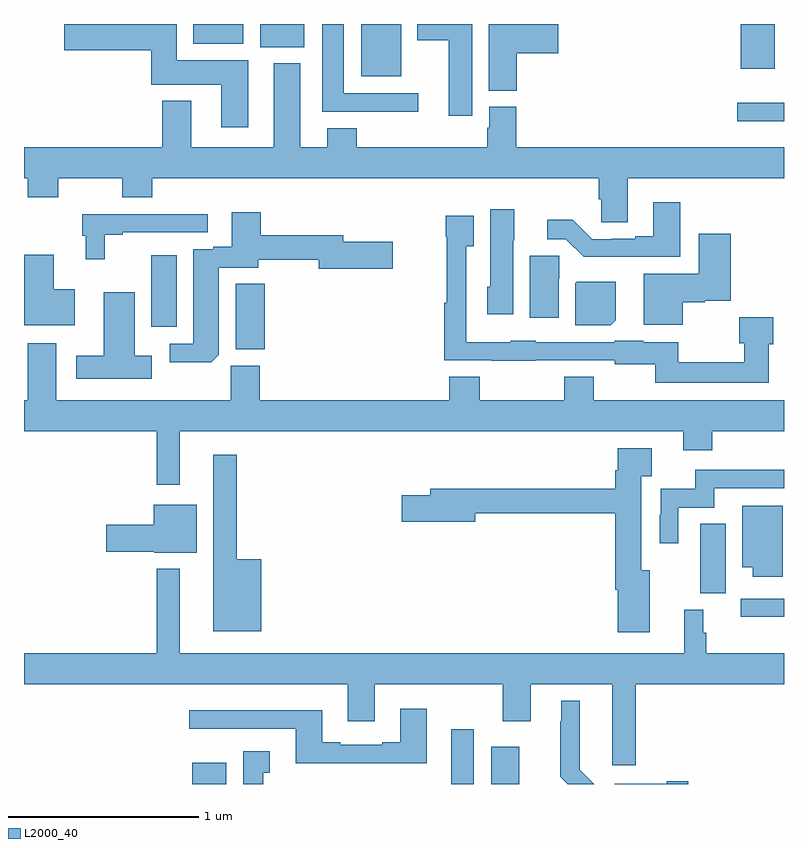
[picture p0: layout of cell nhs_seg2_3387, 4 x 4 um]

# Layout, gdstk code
import gdstk
lib = gdstk.Library(unit=1e-6, precision=1e-09)
def R(c, l, rs):  # rectangles x0, y0, x1, y1
    for r in rs: c.add(gdstk.rectangle(r[:2], r[2:], *l))
def P(c, l, *ps):  # polygons
    for p in ps: c.add(gdstk.Polygon(p, *l))
L2000_40 = (2000, 40)

nhs_seg2_3387 = lib.new_cell('nhs_seg2_3387')
R(nhs_seg2_3387, L2000_40, [(289.886,625.8,290.065,625.912), (291.248,625.8,291.367,626.089), (291.458,625.8,291.607,625.996), (292.773,626.679,293,626.775), (292.559,626.803,292.693,627.169), (290.114,628.087,290.267,628.433), (289.67,628.206,289.804,628.582), (292.755,629.288,293,629.385), (290.774,629.525,290.986,629.8), (292.772,629.564,292.951,629.8), (290.243,629.678,290.476,629.8), (289.892,629.696,290.155,629.8)])
P(nhs_seg2_3387, L2000_40, [(291.076,629.436),(290.683,629.436),(290.683,629.8),(290.57,629.8),(290.57,629.339),(291.076,629.339)],
  [(291.358,629.8),(291.071,629.8),(291.071,629.714),(291.236,629.714),(291.236,629.316),(291.358,629.316)],
  [(291.593,629.645),(291.811,629.645),(291.811,629.8),(291.446,629.8),(291.446,629.449),(291.593,629.449)],
  [(290.179,629.608),(289.804,629.608),(289.804,629.8),(289.212,629.8),(289.212,629.663),(289.67,629.663),(289.67,629.48),(290.039,629.48),(290.039,629.256),(290.179,629.256)],
  [(292.177,628.988),(293,628.988),(293,629.152),(291.59,629.152),(291.59,629.364),(291.449,629.364),(291.449,629.253),(291.437,629.253),(291.437,629.152),(290.75,629.152),(290.75,629.251),(290.597,629.251),(290.597,629.152),(290.455,629.152),(290.455,629.593),(290.315,629.593),(290.315,629.152),(289.879,629.152),(289.879,629.395),(289.727,629.395),(289.727,629.152),(289,629.152),(289,628.988),(289.019,628.988),(289.019,628.889),(289.179,628.889),(289.179,628.988),(289.516,628.988),(289.516,628.889),(289.676,628.889),(289.676,628.988),(292.025,628.988),(292.025,628.878),(292.038,628.878),(292.038,628.756),(292.177,628.756)],
  [(292.453,628.861),(292.313,628.861),(292.313,628.684),(292.217,628.684),(292.217,628.671),(292.09,628.671),(292.09,628.668),(291.99,628.668),(291.888,628.771),(291.753,628.771),(291.753,628.668),(291.852,628.668),(291.947,628.574),(292.453,628.574)],
  [(291.574,628.662),(291.58,628.662),(291.58,628.825),(291.455,628.825),(291.455,628.416),(291.437,628.416),(291.437,628.272),(291.574,628.272)],
  [(290.026,628.06),(290.026,628.518),(290.233,628.518),(290.233,628.558),(290.552,628.558),(290.552,628.511),(290.941,628.511),(290.941,628.653),(290.68,628.653),(290.68,628.687),(290.246,628.687),(290.246,628.81),(290.093,628.81),(290.093,628.627),(289.997,628.627),(289.997,628.614),(289.892,628.614),(289.892,628.116),(289.767,628.116),(289.767,628.019),(289.985,628.019)],
  [(289.425,628.692),(289.519,628.692),(289.519,628.704),(289.966,628.704),(289.966,628.8),(289.306,628.8),(289.306,628.686),(289.325,628.686),(289.325,628.563),(289.425,628.563)],
  [(292.919,628.114),(292.943,628.114),(292.943,628.256),(292.765,628.256),(292.765,628.121),(292.791,628.121),(292.791,628.021),(292.444,628.021),(292.444,628.126),(292.26,628.126),(292.26,628.132),(292.11,628.132),(292.11,628.125),(291.693,628.125),(291.693,628.132),(291.561,628.132),(291.561,628.126),(291.327,628.126),(291.327,628.631),(291.367,628.631),(291.367,628.792),(291.219,628.792),(291.219,628.679),(291.226,628.679),(291.226,628.332),(291.211,628.332),(291.211,628.029),(291.461,628.029),(291.461,628.028),(291.693,628.028),(291.693,628.029),(292.11,628.029),(292.11,628.01),(292.323,628.01),(292.323,627.912),(292.919,627.912)],
  [(292.468,628.336),(292.584,628.336),(292.584,628.343),(292.721,628.343),(292.721,628.696),(292.55,628.696),(292.55,628.486),(292.262,628.486),(292.262,628.217),(292.468,628.217)],
  [(289.267,628.405),(289.156,628.405),(289.156,628.585),(289,628.585),(289,628.214),(289.267,628.214)],
  [(291.814,628.458),(291.818,628.458),(291.818,628.581),(291.662,628.581),(291.662,628.254),(291.814,628.254)],
  [(292.114,628.24),(292.114,628.444),(291.91,628.444),(291.902,628.436),(291.902,628.214),(292.088,628.214)],
  [(289.672,628.054),(289.582,628.054),(289.582,628.387),(289.421,628.387),(289.421,628.054),(289.275,628.054),(289.275,627.932),(289.672,627.932)],
  [(289.819,627.656),(292.469,627.656),(292.469,627.557),(292.622,627.557),(292.622,627.656),(293,627.656),(293,627.82),(291.999,627.82),(291.999,627.944),(291.844,627.944),(291.844,627.82),(291.399,627.82),(291.399,627.944),(291.239,627.944),(291.239,627.82),(290.24,627.82),(290.24,628.002),(290.089,628.002),(290.089,627.82),(289.171,627.82),(289.171,628.12),(289.019,628.12),(289.019,627.82),(289,627.82),(289,627.656),(289.698,627.656),(289.698,627.375),(289.819,627.375)],
  [(292.294,626.926),(292.249,626.926),(292.249,627.42),(292.303,627.42),(292.303,627.568),(292.124,627.568),(292.124,627.452),(292.112,627.452),(292.112,627.355),(291.137,627.355),(291.137,627.321),(290.988,627.321),(290.988,627.179),(291.376,627.179),(291.376,627.226),(292.112,627.226),(292.112,626.822),(292.124,626.822),(292.124,626.6),(292.294,626.6)],
  [(290.248,626.983),(290.119,626.983),(290.119,627.532),(289.997,627.532),(289.997,626.603),(290.248,626.603)],
  [(292.443,627.254),(292.633,627.254),(292.633,627.357),(293,627.357),(293,627.455),(292.534,627.455),(292.534,627.354),(292.35,627.354),(292.35,627.216),(292.347,627.216),(292.347,627.066),(292.443,627.066)],
  [(289.909,627.271),(289.682,627.271),(289.682,627.165),(289.434,627.165),(289.434,627.023),(289.686,627.023),(289.686,627.017),(289.909,627.017)],
  [(292.993,627.265),(292.781,627.265),(292.781,626.942),(292.835,626.942),(292.835,626.892),(292.993,626.892)],
  [(292.22,626.324),(293,626.324),(293,626.488),(292.592,626.488),(292.592,626.597),(292.574,626.597),(292.574,626.718),(292.475,626.718),(292.475,626.488),(289.819,626.488),(289.819,626.932),(289.698,626.932),(289.698,626.488),(289,626.488),(289,626.324),(290.705,626.324),(290.705,626.13),(290.845,626.13),(290.845,626.324),(291.52,626.324),(291.52,626.13),(291.667,626.13),(291.667,626.324),(292.097,626.324),(292.097,625.899),(292.22,625.899)],
  [(291.925,625.876),(291.925,626.239),(291.827,626.239),(291.827,626.129),(291.823,626.129),(291.823,625.838),(291.861,625.8),(292,625.8)],
  [(291.121,626.197),(290.981,626.197),(290.981,626.02),(290.885,626.02),(290.885,626.007),(290.665,626.007),(290.665,626.02),(290.569,626.02),(290.569,626.188),(289.869,626.188),(289.869,626.091),(290.429,626.091),(290.429,625.91),(291.121,625.91)],
  [(290.26,625.859),(290.293,625.859),(290.293,625.972),(290.153,625.972),(290.153,625.8),(290.26,625.8)],
  [(292.495,625.814),(292.382,625.814),(292.382,625.801),(292.11,625.801),(292.11,625.8),(292.495,625.8)])

lib.write_gds('nhs_seg2_3387.gds')
